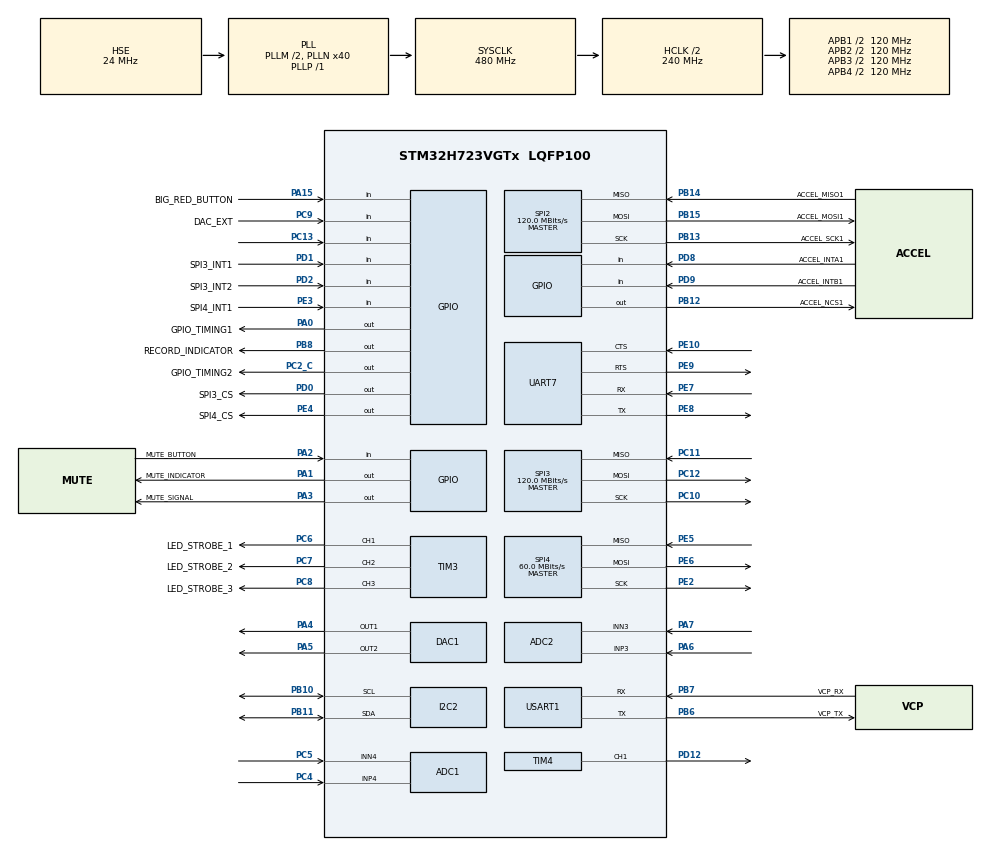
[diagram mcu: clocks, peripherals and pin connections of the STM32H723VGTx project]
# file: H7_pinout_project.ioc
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ADC1.Channel-0\#ChannelRegularConversion=ADC_CHANNEL_4
ADC1.ClockPrescaler=ADC_CLOCK_ASYNC_DIV2
ADC1.NbrOfConversionFlag=1
ADC1.OffsetNumber-0\#ChannelRegularConversion=ADC_OFFSET_NONE
ADC1.OffsetSignedSaturation-0\#ChannelRegularConversion=DISABLE
ADC1.Rank-0\#ChannelRegularConversion=1
ADC1.SamplingTime-0\#ChannelRegularConversion=ADC_SAMPLETIME_1CYCLE_5
ADC1.SingleDiff-0\#ChannelRegularConversion=ADC_DIFFERENTIAL_ENDED
ADC1.master=1
ADC2.Channel-1\#ChannelRegularConversion=ADC_CHANNEL_3
ADC2.ClockPrescaler=ADC_CLOCK_ASYNC_DIV2
ADC2.NbrOfConversionFlag=1
ADC2.OffsetNumber-1\#ChannelRegularConversion=ADC_OFFSET_NONE
ADC2.OffsetSignedSaturation-1\#ChannelRegularConversion=DISABLE
ADC2.Rank-1\#ChannelRegularConversion=1
ADC2.SamplingTime-1\#ChannelRegularConversion=ADC_SAMPLETIME_1CYCLE_5
ADC2.SingleDiff-1\#ChannelRegularConversion=ADC_DIFFERENTIAL_ENDED
CORTEX_M7.default_mode_Activation=1
DAC1.DAC_Channel-DAC_OUT1=DAC_CHANNEL_1
DAC1.DAC_Channel-DAC_OUT2=DAC_CHANNEL_2
DAC1.DAC_Trigger-DAC_OUT1=DAC_TRIGGER_T1_TRGO
Dma.DAC1_CH1.0.Direction=DMA_MEMORY_TO_PERIPH
Dma.DAC1_CH1.0.EventEnable=DISABLE
Dma.DAC1_CH1.0.FIFOMode=DMA_FIFOMODE_DISABLE
Dma.DAC1_CH1.0.Instance=DMA1_Stream0
Dma.DAC1_CH1.0.MemDataAlignment=DMA_MDATAALIGN_WORD
Dma.DAC1_CH1.0.MemInc=DMA_MINC_ENABLE
Dma.DAC1_CH1.0.Mode=DMA_CIRCULAR
Dma.DAC1_CH1.0.PeriphDataAlignment=DMA_PDATAALIGN_WORD
Dma.DAC1_CH1.0.PeriphInc=DMA_PINC_DISABLE
Dma.DAC1_CH1.0.Polarity=HAL_DMAMUX_REQ_GEN_RISING
Dma.DAC1_CH1.0.Priority=DMA_PRIORITY_LOW
Dma.DAC1_CH1.0.RequestNumber=1
Dma.DAC1_CH1.0.SignalID=NONE
Dma.DAC1_CH1.0.SyncEnable=DISABLE
Dma.DAC1_CH1.0.SyncPolarity=HAL_DMAMUX_SYNC_NO_EVENT
Dma.DAC1_CH1.0.SyncRequestNumber=1
Dma.DAC1_CH1.0.SyncSignalID=NONE
Dma.DAC1_CH2.2.Direction=DMA_MEMORY_TO_PERIPH
Dma.DAC1_CH2.2.EventEnable=DISABLE
Dma.DAC1_CH2.2.FIFOMode=DMA_FIFOMODE_DISABLE
Dma.DAC1_CH2.2.Instance=DMA1_Stream1
Dma.DAC1_CH2.2.MemDataAlignment=DMA_MDATAALIGN_WORD
Dma.DAC1_CH2.2.MemInc=DMA_MINC_ENABLE
Dma.DAC1_CH2.2.Mode=DMA_CIRCULAR
Dma.DAC1_CH2.2.PeriphDataAlignment=DMA_PDATAALIGN_WORD
Dma.DAC1_CH2.2.PeriphInc=DMA_PINC_DISABLE
Dma.DAC1_CH2.2.Polarity=HAL_DMAMUX_REQ_GEN_RISING
Dma.DAC1_CH2.2.Priority=DMA_PRIORITY_LOW
Dma.DAC1_CH2.2.RequestNumber=1
Dma.DAC1_CH2.2.SignalID=NONE
Dma.DAC1_CH2.2.SyncEnable=DISABLE
Dma.DAC1_CH2.2.SyncPolarity=HAL_DMAMUX_SYNC_NO_EVENT
Dma.DAC1_CH2.2.SyncRequestNumber=1
Dma.DAC1_CH2.2.SyncSignalID=NONE
Dma.Request0=DAC1_CH1
Dma.Request1=TIM4_CH1
Dma.Request2=DAC1_CH2
Dma.TIM4_CH1.1.Direction=DMA_MEMORY_TO_PERIPH
Dma.TIM4_CH1.1.EventEnable=DISABLE
Dma.TIM4_CH1.1.FIFOMode=DMA_FIFOMODE_DISABLE
Dma.TIM4_CH1.1.Instance=DMA1_Stream2
Dma.TIM4_CH1.1.MemDataAlignment=DMA_MDATAALIGN_HALFWORD
Dma.TIM4_CH1.1.MemInc=DMA_MINC_ENABLE
Dma.TIM4_CH1.1.Mode=DMA_NORMAL
Dma.TIM4_CH1.1.PeriphDataAlignment=DMA_PDATAALIGN_HALFWORD
Dma.TIM4_CH1.1.PeriphInc=DMA_PINC_DISABLE
Dma.TIM4_CH1.1.Polarity=HAL_DMAMUX_REQ_GEN_RISING
Dma.TIM4_CH1.1.Priority=DMA_PRIORITY_LOW
Dma.TIM4_CH1.1.RequestNumber=1
Dma.TIM4_CH1.1.SignalID=NONE
Dma.TIM4_CH1.1.SyncEnable=DISABLE
Dma.TIM4_CH1.1.SyncPolarity=HAL_DMAMUX_SYNC_NO_EVENT
Dma.TIM4_CH1.1.SyncRequestNumber=1
Dma.TIM4_CH1.1.SyncSignalID=NONE
I2C2.Timing=0x307075B1
Mcu.Family=STM32H7
Mcu.Name=STM32H723VGTx
Mcu.Package=LQFP100
NVIC.DMA1_Stream0_IRQn=true\:0\:0\:false\:false\:true\:false\:true\:true
NVIC.DMA1_Stream1_IRQn=true\:0\:0\:false\:false\:true\:false\:true\:true
NVIC.DMA1_Stream2_IRQn=true\:0\:0\:false\:false\:true\:false\:true\:true
NVIC.PriorityGroup=NVIC_PRIORITYGROUP_4
NVIC.TIM4_IRQn=true\:0\:0\:false\:false\:true\:true\:true\:true
PA0.GPIO_Label=GPIO_TIMING1
PA0.Signal=GPIO_Output
PA1.GPIO_Label=MUTE_INDICATOR
PA1.Signal=GPIO_Output
PA13(JTMS/SWDIO).Mode=Trace_Asynchronous_SW
PA13(JTMS/SWDIO).Signal=DEBUG_JTMS-SWDIO
PA14(JTCK/SWCLK).Mode=Trace_Asynchronous_SW
PA14(JTCK/SWCLK).Signal=DEBUG_JTCK-SWCLK
PA15(JTDI).GPIO_Label=BIG_RED_BUTTON
PA15(JTDI).Signal=GPIO_Input
PA2.GPIO_Label=MUTE_BUTTON
PA2.Signal=GPIO_Input
PA3.GPIO_Label=MUTE_SIGNAL
PA3.Signal=GPIO_Output
PA4.Signal=COMP_DAC11_group
PA5.Signal=COMP_DAC12_group
PA6.Signal=ADCx_INP3
PA7.Signal=ADCx_INN3
PB10.Mode=I2C
PB10.Signal=I2C2_SCL
PB11.Mode=I2C
PB11.Signal=I2C2_SDA
PB12.GPIO_Label=ACCEL_NCS1
PB12.Signal=GPIO_Output
PB13.GPIO_Label=ACCEL_SCK1
PB13.Mode=Full_Duplex_Master
PB13.Signal=SPI2_SCK
PB14.GPIO_Label=ACCEL_MISO1
PB14.Mode=Full_Duplex_Master
PB14.Signal=SPI2_MISO
PB15.GPIO_Label=ACCEL_MOSI1
PB15.Mode=Full_Duplex_Master
PB15.Signal=SPI2_MOSI
PB3(JTDO/TRACESWO).Mode=Trace_Asynchronous_SW
PB3(JTDO/TRACESWO).Signal=DEBUG_JTDO-SWO
PB6.GPIO_Label=VCP_TX
PB6.Mode=Asynchronous
PB6.Signal=USART1_TX
PB7.GPIO_Label=VCP_RX
PB7.Mode=Asynchronous
PB7.Signal=USART1_RX
PB8.GPIO_Label=RECORD_INDICATOR
PB8.Signal=GPIO_Output
PC10.Mode=Full_Duplex_Master
PC10.Signal=SPI3_SCK
PC11.Mode=Full_Duplex_Master
PC11.Signal=SPI3_MISO
PC12.Mode=Full_Duplex_Master
PC12.Signal=SPI3_MOSI
PC13.Signal=GPIO_Input
PC2_C.GPIO_Label=GPIO_TIMING2
PC2_C.Signal=GPIO_Output
PC4.Signal=ADCx_INP4
PC5.Signal=ADCx_INN4
PC6.GPIO_Label=LED_STROBE_1
PC6.Signal=S_TIM3_CH1
PC7.GPIO_Label=LED_STROBE_2
PC7.Signal=S_TIM3_CH2
PC8.GPIO_Label=LED_STROBE_3
PC8.Signal=S_TIM3_CH3
PC9.GPIO_Label=DAC_EXT
PC9.Signal=GPIO_Input
PD0.GPIO_Label=SPI3_CS
PD0.Signal=GPIO_Output
PD1.GPIO_Label=SPI3_INT1
PD1.Signal=GPIO_Input
PD12.Signal=S_TIM4_CH1
PD2.GPIO_Label=SPI3_INT2
PD2.Signal=GPIO_Input
PD8.GPIO_Label=ACCEL_INTA1
PD8.Signal=GPIO_Input
PD9.GPIO_Label=ACCEL_INTB1
PD9.Signal=GPIO_Input
PE10.Mode=CTS_RTS
PE10.Signal=UART7_CTS
PE2.Mode=Full_Duplex_Master
PE2.Signal=SPI4_SCK
PE3.GPIO_Label=SPI4_INT1
PE3.Signal=GPIO_Input
PE4.GPIO_Label=SPI4_CS
PE4.Signal=GPIO_Output
PE5.Mode=Full_Duplex_Master
PE5.Signal=SPI4_MISO
PE6.Mode=Full_Duplex_Master
PE6.Signal=SPI4_MOSI
PE7.Mode=Asynchronous
PE7.Signal=UART7_RX
PE8.Mode=Asynchronous
PE8.Signal=UART7_TX
PE9.Mode=CTS_RTS
PE9.Signal=UART7_RTS
PH0-OSC_IN.Mode=HSE-External-Oscillator
PH0-OSC_IN.Signal=RCC_OSC_IN
PH1-OSC_OUT.Mode=HSE-External-Oscillator
PH1-OSC_OUT.Signal=RCC_OSC_OUT
ProjectManager.HeapSize=0x200
ProjectManager.StackSize=0x400
ProjectManager.TargetToolchain=STM32CubeIDE
RCC.ADCFreq_Value=96000000
RCC.APB1Freq_Value=120000000
RCC.APB2Freq_Value=120000000
RCC.APB3Freq_Value=120000000
RCC.APB4Freq_Value=120000000
RCC.CortexFreq_Value=480000000
RCC.D1PPRE=RCC_APB3_DIV2
RCC.D2PPRE1=RCC_APB1_DIV2
RCC.D2PPRE2=RCC_APB2_DIV2
RCC.D3PPRE=RCC_APB4_DIV2
RCC.DIVM1=2
RCC.DIVM2=2
RCC.DIVN1=40
RCC.DIVN2=16
RCC.DIVP1=1
RCC.HCLKFreq_Value=240000000
RCC.HPRE=RCC_HCLK_DIV2
RCC.HSE_VALUE=24000000
RCC.PLL2FRACN=0
RCC.PLL3FRACN=0
RCC.PLLFRACN=0
RCC.PLLSourceVirtual=RCC_PLLSOURCE_HSE
RCC.SYSCLKFreq_VALUE=480000000
RCC.SYSCLKSource=RCC_SYSCLKSOURCE_PLLCLK
RCC.USBFreq_Value=240000000
SH.ADCx_INN3.0=ADC2_INN3,IN3-Differential
SH.ADCx_INN4.0=ADC1_INN4,IN4-Differential
SH.ADCx_INP3.0=ADC2_INP3,IN3-Differential
SH.ADCx_INP4.0=ADC1_INP4,IN4-Differential
SH.COMP_DAC11_group.0=DAC1_OUT1,DAC_OUT1
SH.COMP_DAC12_group.0=DAC1_OUT2,DAC_OUT2
SH.S_TIM3_CH1.0=TIM3_CH1,PWM Generation1 CH1
SH.S_TIM3_CH2.0=TIM3_CH2,PWM Generation2 CH2
SH.S_TIM3_CH3.0=TIM3_CH3,PWM Generation3 CH3
SH.S_TIM4_CH1.0=TIM4_CH1,PWM Generation1 CH1
SPI2.CalculateBaudRate=120.0 MBits/s
SPI2.Direction=SPI_DIRECTION_2LINES
SPI2.IOSwap=SPI_IO_SWAP_DISABLE
SPI2.Mode=SPI_MODE_MASTER
SPI2.VirtualType=VM_MASTER
SPI3.CalculateBaudRate=120.0 MBits/s
SPI3.Direction=SPI_DIRECTION_2LINES
SPI3.Mode=SPI_MODE_MASTER
SPI3.VirtualType=VM_MASTER
SPI4.CalculateBaudRate=60.0 MBits/s
SPI4.Direction=SPI_DIRECTION_2LINES
SPI4.Mode=SPI_MODE_MASTER
SPI4.VirtualType=VM_MASTER
TIM1.TIM_MasterOutputTrigger=TIM_TRGO_UPDATE
TIM2.TIM_MasterOutputTrigger=TIM_TRGO_UPDATE
TIM3.Channel-PWM\ Generation1\ CH1=TIM_CHANNEL_1
TIM3.Channel-PWM\ Generation2\ CH2=TIM_CHANNEL_2
TIM3.Channel-PWM\ Generation3\ CH3=TIM_CHANNEL_3
TIM4.Channel-PWM\ Generation1\ CH1=TIM_CHANNEL_1
TIM4.Period=100-1
TIM4.Prescaler=3-1
USART1.VirtualMode-Asynchronous=VM_ASYNC
VP_MEMORYMAP_VS_MEMORYMAP.Mode=CurAppReg
VP_TIM1_VS_ClockSourceINT.Mode=Internal
VP_TIM2_VS_ClockSourceINT.Mode=Internal
VP_TIM3_VS_ClockSourceINT.Mode=Internal
VP_TIM4_VS_ClockSourceINT.Mode=Internal
board=custom

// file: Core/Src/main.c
/* USER CODE BEGIN Header */
/**
  ******************************************************************************
  * @file           : main.c
  * @brief          : Main program body
  ******************************************************************************
  * @attention
  *
  * Copyright (c) 2024 STMicroelectronics.
  * All rights reserved.
  *
  * This software is licensed under terms that can be found in the LICENSE file
  * in the root directory of this software component.
  * If no LICENSE file comes with this software, it is provided AS-IS.
  *
  ******************************************************************************
  */
/* USER CODE END Header */
#include "main.h"

/* USER CODE BEGIN Includes */
#include "driver_RGB_LED.h"
/* USER CODE END Includes */

/* USER CODE BEGIN PD */

#define TIM_BASE_FREQ_HZ 240000000  /* all of our timers happen to be on the same clock frequency */

#define STROBE_TIMER_PRESCALER 10000
#define STROBE_TIMER_COUNTS_PER_SEC TIM_BASE_FREQ_HZ / STROBE_TIMER_PRESCALER
#define STROBE_BLINK_FREQ_HZ 62
#define STROBE_BLINK_DUTYCYCLE 0.05

#define RGB_TIMER_PRESCALER 3
#define RGB_TIMER_COUNTS_PER_SEC TIM_BASE_FREQ_HZ / RGB_TIMER_PRESCALER
#define RGB_TIMER_FREQ_HZ 800000
#define RGB_TIMER_COUNTS_PER_PERIOD RGB_TIMER_COUNTS_PER_SEC / RGB_TIMER_FREQ_HZ

#define DAC_TIMER_PRESCALER 1
#define DAC_TIMER_COUNTS_PER_SEC TIM_BASE_FREQ_HZ / DAC_TIMER_PRESCALER
#define DAC_FREQ_HZ 48000
#define SINE_FREQ_HZ 60

/* USER CODE END PD */

ADC_HandleTypeDef hadc1;
ADC_HandleTypeDef hadc2;

DAC_HandleTypeDef hdac1;
DMA_HandleTypeDef hdma_dac1_ch1;
DMA_HandleTypeDef hdma_dac1_ch2;

I2C_HandleTypeDef hi2c2;

SPI_HandleTypeDef hspi2;
SPI_HandleTypeDef hspi3;
SPI_HandleTypeDef hspi4;

TIM_HandleTypeDef htim1;
TIM_HandleTypeDef htim2;
TIM_HandleTypeDef htim3;
TIM_HandleTypeDef htim4;
DMA_HandleTypeDef hdma_tim4_ch1;

UART_HandleTypeDef huart7;
UART_HandleTypeDef huart1;

void SystemClock_Config(void);
void PeriphCommonClock_Config(void);
static void MPU_Config(void);
static void MX_GPIO_Init(void);
static void MX_DMA_Init(void);
static void MX_DAC1_Init(void);
static void MX_I2C2_Init(void);
static void MX_SPI2_Init(void);
static void MX_SPI3_Init(void);
static void MX_SPI4_Init(void);
static void MX_TIM4_Init(void);
static void MX_TIM3_Init(void);
static void MX_USART1_UART_Init(void);
static void MX_TIM1_Init(void);
static void MX_TIM2_Init(void);
static void MX_ADC1_Init(void);
static void MX_ADC2_Init(void);
static void MX_UART7_Init(void);

/* USER CODE BEGIN 0 */

void Generate_Sine(uint32_t* buf, uint32_t len, uint16_t amplitude)
{
	for (uint32_t i = 0; i < len; i++)
	{
		*buf++ = 2048 + amplitude * sin((float)i * 2.0f * PI / (float)len);  /* offset to mid voltage */
	}
}

void HAL_TIM_PWM_PulseFinishedCallback(TIM_HandleTypeDef *htim){
	if(htim == &htim4){
		RGB_Callback();
	}
}

/* USER CODE END 0 */

int main(void)
{

  /* MPU Configuration--------------------------------------------------------*/
  MPU_Config();

  /* MCU Configuration--------------------------------------------------------*/

  /* Reset of all peripherals, Initializes the Flash interface and the Systick. */
  HAL_Init();

  /* Configure the system clock */
  SystemClock_Config();

  /* Configure the peripherals common clocks */
  PeriphCommonClock_Config();

  /* Initialize all configured peripherals */
  MX_GPIO_Init();
  MX_DMA_Init();
  MX_DAC1_Init();
  MX_I2C2_Init();
  MX_SPI2_Init();
  MX_SPI3_Init();
  MX_SPI4_Init();
  MX_TIM4_Init();
  MX_TIM3_Init();
  MX_USART1_UART_Init();
  MX_TIM1_Init();
  MX_TIM2_Init();
  MX_ADC1_Init();
  MX_ADC2_Init();
  MX_UART7_Init();

  /* Infinite loop */
  /* USER CODE BEGIN WHILE */

  /* strobe timer setup */
  TIM3->PSC = STROBE_TIMER_PRESCALER - 1;
  TIM3->ARR = STROBE_TIMER_COUNTS_PER_SEC / STROBE_BLINK_FREQ_HZ - 1;
  TIM3->CCR1 = (float)TIM3->ARR * STROBE_BLINK_DUTYCYCLE;
  TIM3->CCR2 = (float)TIM3->ARR * STROBE_BLINK_DUTYCYCLE;
  TIM3->CCR3 = (float)TIM3->ARR * STROBE_BLINK_DUTYCYCLE;

  /* RGB LEDs timer setup */
  TIM4->PSC = RGB_TIMER_PRESCALER - 1;
  TIM4->ARR = RGB_TIMER_COUNTS_PER_PERIOD - 1;

  //RGB_Init(&htim4);

  /* DAC setup */
  uint32_t sine_wave[DAC_FREQ_HZ / SINE_FREQ_HZ];
  Generate_Sine(sine_wave, DAC_FREQ_HZ / SINE_FREQ_HZ, 330);	  /* populate sine wave */

  TIM1->PSC = DAC_TIMER_PRESCALER - 1;
  TIM1->ARR = DAC_TIMER_COUNTS_PER_SEC / DAC_FREQ_HZ - 1;

  /* start strobe timers */
  HAL_TIM_PWM_Start(&htim3, TIM_CHANNEL_1);
  HAL_TIM_PWM_Start(&htim3, TIM_CHANNEL_2);
  HAL_TIM_PWM_Start(&htim3, TIM_CHANNEL_3);

  /* start the speaker output */
  HAL_DAC_Start_DMA(&hdac1, DAC_CHANNEL_1, sine_wave, DAC_FREQ_HZ / SINE_FREQ_HZ, DAC_ALIGN_12B_R);
  HAL_DAC_Start_DMA(&hdac1, DAC_CHANNEL_2, sine_wave, DAC_FREQ_HZ / SINE_FREQ_HZ, DAC_ALIGN_12B_R);

  HAL_TIM_Base_Start(&htim1);

  HAL_Delay(1000);

  RGB_SetColor(0,106,0,0);
  RGB_SetColor(1,107,0,0);
  RGB_SetColor(2,108,0,0);

  RGB_SetColor(3,102,0,0);
  RGB_SetColor(4,101,0,0);
  RGB_SetColor(5,100,0,0);

  RGB_SetColor(6,103,0,0);
  RGB_SetColor(7,104,0,0);
  RGB_SetColor(8,105,0,0);

  RGB_Update();
  float t = 0;

  while (1){
	  /*
	  uint8_t A = 10;
	  float p_r = 0;
	  float p_g = 2 * PI / 3;
	  float p_b = -2 * PI / 3;
	  uint8_t r = (uint8_t) (A + A * sin(2*PI * t + p_r));
	  uint8_t g = (uint8_t) (A + A * sin(2*PI * t + p_g));
	  uint8_t b = (uint8_t) (A + A * sin(2*PI * t + p_b));
	  t+= 0.01;
	*/
	  uint8_t r = 25;
	  uint8_t g = 25;
	  uint8_t b = 25;
	  RGB_SetColor(0,r,g,b);
	  RGB_SetColor(1,r,g,b);
	  RGB_SetColor(2,r,g,b);
	  RGB_SetColor(3,r,g,b);
	  RGB_SetColor(4,r,g,b);
	  RGB_SetColor(5,r,g,b);
	  RGB_SetColor(6,r,g,b);
	  RGB_SetColor(7,r,g,b);
	  RGB_SetColor(8,r,g,b);

	  RGB_Update();

	  HAL_Delay(10);
	  /*
	  RGB_SetColor(0, 0, 0, 0);

	  for(int b = 0; b < 255; b++){
		  for(int i = 1; i<10; i++){
			  RGB_SetColor(i, b, 0, 0);
		  }
		  RGB_Update();
		  HAL_Delay(500);
	  }*/

    /* USER CODE END WHILE */

  }
}

void SystemClock_Config(void)
{
  RCC_OscInitTypeDef RCC_OscInitStruct = {0};
  RCC_ClkInitTypeDef RCC_ClkInitStruct = {0};

  /** Supply configuration update enable
  */
  HAL_PWREx_ConfigSupply(PWR_LDO_SUPPLY);

  /** Configure the main internal regulator output voltage
  */
  __HAL_PWR_VOLTAGESCALING_CONFIG(PWR_REGULATOR_VOLTAGE_SCALE0);

  while(!__HAL_PWR_GET_FLAG(PWR_FLAG_VOSRDY)) {}

  /** Initializes the RCC Oscillators according to the specified parameters
  * in the RCC_OscInitTypeDef structure.
  */
  RCC_OscInitStruct.OscillatorType = RCC_OSCILLATORTYPE_HSE;
  RCC_OscInitStruct.HSEState = RCC_HSE_ON;
  RCC_OscInitStruct.PLL.PLLState = RCC_PLL_ON;
  RCC_OscInitStruct.PLL.PLLSource = RCC_PLLSOURCE_HSE;
  RCC_OscInitStruct.PLL.PLLM = 2;
  RCC_OscInitStruct.PLL.PLLN = 40;
  RCC_OscInitStruct.PLL.PLLP = 1;
  RCC_OscInitStruct.PLL.PLLQ = 2;
  RCC_OscInitStruct.PLL.PLLR = 2;
  RCC_OscInitStruct.PLL.PLLRGE = RCC_PLL1VCIRANGE_3;
  RCC_OscInitStruct.PLL.PLLVCOSEL = RCC_PLL1VCOWIDE;
  RCC_OscInitStruct.PLL.PLLFRACN = 0;
  if (HAL_RCC_OscConfig(&RCC_OscInitStruct) != HAL_OK)
  {
    Error_Handler();
  }

  /** Initializes the CPU, AHB and APB buses clocks
  */
  RCC_ClkInitStruct.ClockType = RCC_CLOCKTYPE_HCLK|RCC_CLOCKTYPE_SYSCLK
                              |RCC_CLOCKTYPE_PCLK1|RCC_CLOCKTYPE_PCLK2
                              |RCC_CLOCKTYPE_D3PCLK1|RCC_CLOCKTYPE_D1PCLK1;
  RCC_ClkInitStruct.SYSCLKSource = RCC_SYSCLKSOURCE_PLLCLK;
  RCC_ClkInitStruct.SYSCLKDivider = RCC_SYSCLK_DIV1;
  RCC_ClkInitStruct.AHBCLKDivider = RCC_HCLK_DIV2;
  RCC_ClkInitStruct.APB3CLKDivider = RCC_APB3_DIV2;
  RCC_ClkInitStruct.APB1CLKDivider = RCC_APB1_DIV2;
  RCC_ClkInitStruct.APB2CLKDivider = RCC_APB2_DIV2;
  RCC_ClkInitStruct.APB4CLKDivider = RCC_APB4_DIV2;

  if (HAL_RCC_ClockConfig(&RCC_ClkInitStruct, FLASH_LATENCY_3) != HAL_OK)
  {
    Error_Handler();
  }
}

void PeriphCommonClock_Config(void)
{
  RCC_PeriphCLKInitTypeDef PeriphClkInitStruct = {0};

  /** Initializes the peripherals clock
  */
  PeriphClkInitStruct.PeriphClockSelection = RCC_PERIPHCLK_ADC;
  PeriphClkInitStruct.PLL2.PLL2M = 2;
  PeriphClkInitStruct.PLL2.PLL2N = 16;
  PeriphClkInitStruct.PLL2.PLL2P = 2;
  PeriphClkInitStruct.PLL2.PLL2Q = 2;
  PeriphClkInitStruct.PLL2.PLL2R = 2;
  PeriphClkInitStruct.PLL2.PLL2RGE = RCC_PLL2VCIRANGE_3;
  PeriphClkInitStruct.PLL2.PLL2VCOSEL = RCC_PLL2VCOWIDE;
  PeriphClkInitStruct.PLL2.PLL2FRACN = 0;
  PeriphClkInitStruct.AdcClockSelection = RCC_ADCCLKSOURCE_PLL2;
  if (HAL_RCCEx_PeriphCLKConfig(&PeriphClkInitStruct) != HAL_OK)
  {
    Error_Handler();
  }
}

static void MX_ADC1_Init(void)
{

  ADC_MultiModeTypeDef multimode = {0};
  ADC_ChannelConfTypeDef sConfig = {0};

  /** Common config
  */
  hadc1.Instance = ADC1;
  hadc1.Init.ClockPrescaler = ADC_CLOCK_ASYNC_DIV2;
  hadc1.Init.Resolution = ADC_RESOLUTION_16B;
  hadc1.Init.ScanConvMode = ADC_SCAN_DISABLE;
  hadc1.Init.EOCSelection = ADC_EOC_SINGLE_CONV;
  hadc1.Init.LowPowerAutoWait = DISABLE;
  hadc1.Init.ContinuousConvMode = DISABLE;
  hadc1.Init.NbrOfConversion = 1;
  hadc1.Init.DiscontinuousConvMode = DISABLE;
  hadc1.Init.ExternalTrigConv = ADC_SOFTWARE_START;
  hadc1.Init.ExternalTrigConvEdge = ADC_EXTERNALTRIGCONVEDGE_NONE;
  hadc1.Init.ConversionDataManagement = ADC_CONVERSIONDATA_DR;
  hadc1.Init.Overrun = ADC_OVR_DATA_PRESERVED;
  hadc1.Init.LeftBitShift = ADC_LEFTBITSHIFT_NONE;
  hadc1.Init.OversamplingMode = DISABLE;
  hadc1.Init.Oversampling.Ratio = 1;
  if (HAL_ADC_Init(&hadc1) != HAL_OK)
  {
    Error_Handler();
  }

  /** Configure the ADC multi-mode
  */
  multimode.Mode = ADC_MODE_INDEPENDENT;
  if (HAL_ADCEx_MultiModeConfigChannel(&hadc1, &multimode) != HAL_OK)
  {
    Error_Handler();
  }

  /** Configure Regular Channel
  */
  sConfig.Channel = ADC_CHANNEL_4;
  sConfig.Rank = ADC_REGULAR_RANK_1;
  sConfig.SamplingTime = ADC_SAMPLETIME_1CYCLE_5;
  sConfig.SingleDiff = ADC_DIFFERENTIAL_ENDED;
  sConfig.OffsetNumber = ADC_OFFSET_NONE;
  sConfig.Offset = 0;
  sConfig.OffsetSignedSaturation = DISABLE;
  if (HAL_ADC_ConfigChannel(&hadc1, &sConfig) != HAL_OK)
  {
    Error_Handler();
  }

}

static void MX_ADC2_Init(void)
{

  ADC_ChannelConfTypeDef sConfig = {0};

  /** Common config
  */
  hadc2.Instance = ADC2;
  hadc2.Init.ClockPrescaler = ADC_CLOCK_ASYNC_DIV2;
  hadc2.Init.Resolution = ADC_RESOLUTION_16B;
  hadc2.Init.ScanConvMode = ADC_SCAN_DISABLE;
  hadc2.Init.EOCSelection = ADC_EOC_SINGLE_CONV;
  hadc2.Init.LowPowerAutoWait = DISABLE;
  hadc2.Init.ContinuousConvMode = DISABLE;
  hadc2.Init.NbrOfConversion = 1;
  hadc2.Init.DiscontinuousConvMode = DISABLE;
  hadc2.Init.ExternalTrigConv = ADC_SOFTWARE_START;
  hadc2.Init.ExternalTrigConvEdge = ADC_EXTERNALTRIGCONVEDGE_NONE;
  hadc2.Init.ConversionDataManagement = ADC_CONVERSIONDATA_DR;
  hadc2.Init.Overrun = ADC_OVR_DATA_PRESERVED;
  hadc2.Init.LeftBitShift = ADC_LEFTBITSHIFT_NONE;
  hadc2.Init.OversamplingMode = DISABLE;
  hadc2.Init.Oversampling.Ratio = 1;
  if (HAL_ADC_Init(&hadc2) != HAL_OK)
  {
    Error_Handler();
  }

  /** Configure Regular Channel
  */
  sConfig.Channel = ADC_CHANNEL_3;
  sConfig.Rank = ADC_REGULAR_RANK_1;
  sConfig.SamplingTime = ADC_SAMPLETIME_1CYCLE_5;
  sConfig.SingleDiff = ADC_DIFFERENTIAL_ENDED;
  sConfig.OffsetNumber = ADC_OFFSET_NONE;
  sConfig.Offset = 0;
  sConfig.OffsetSignedSaturation = DISABLE;
  if (HAL_ADC_ConfigChannel(&hadc2, &sConfig) != HAL_OK)
  {
    Error_Handler();
  }

}

static void MX_DAC1_Init(void)
{

  DAC_ChannelConfTypeDef sConfig = {0};

  /** DAC Initialization
  */
  hdac1.Instance = DAC1;
  if (HAL_DAC_Init(&hdac1) != HAL_OK)
  {
    Error_Handler();
  }

  /** DAC channel OUT1 config
  */
  sConfig.DAC_SampleAndHold = DAC_SAMPLEANDHOLD_DISABLE;
  sConfig.DAC_Trigger = DAC_TRIGGER_T1_TRGO;
  sConfig.DAC_OutputBuffer = DAC_OUTPUTBUFFER_ENABLE;
  sConfig.DAC_ConnectOnChipPeripheral = DAC_CHIPCONNECT_DISABLE;
  sConfig.DAC_UserTrimming = DAC_TRIMMING_FACTORY;
  if (HAL_DAC_ConfigChannel(&hdac1, &sConfig, DAC_CHANNEL_1) != HAL_OK)
  {
    Error_Handler();
  }

  /** DAC channel OUT2 config
  */
  sConfig.DAC_Trigger = DAC_TRIGGER_NONE;
  if (HAL_DAC_ConfigChannel(&hdac1, &sConfig, DAC_CHANNEL_2) != HAL_OK)
  {
    Error_Handler();
  }

}

static void MX_I2C2_Init(void)
{

  hi2c2.Instance = I2C2;
  hi2c2.Init.Timing = 0x307075B1;
  hi2c2.Init.OwnAddress1 = 0;
  hi2c2.Init.AddressingMode = I2C_ADDRESSINGMODE_7BIT;
  hi2c2.Init.DualAddressMode = I2C_DUALADDRESS_DISABLE;
  hi2c2.Init.OwnAddress2 = 0;
  hi2c2.Init.OwnAddress2Masks = I2C_OA2_NOMASK;
  hi2c2.Init.GeneralCallMode = I2C_GENERALCALL_DISABLE;
  hi2c2.Init.NoStretchMode = I2C_NOSTRETCH_DISABLE;
  if (HAL_I2C_Init(&hi2c2) != HAL_OK)
  {
    Error_Handler();
  }

  /** Configure Analogue filter
  */
  if (HAL_I2CEx_ConfigAnalogFilter(&hi2c2, I2C_ANALOGFILTER_ENABLE) != HAL_OK)
  {
    Error_Handler();
  }

  /** Configure Digital filter
  */
  if (HAL_I2CEx_ConfigDigitalFilter(&hi2c2, 0) != HAL_OK)
  {
    Error_Handler();
  }

}

static void MX_SPI2_Init(void)
{

  /* SPI2 parameter configuration*/
  hspi2.Instance = SPI2;
  hspi2.Init.Mode = SPI_MODE_MASTER;
  hspi2.Init.Direction = SPI_DIRECTION_2LINES;
  hspi2.Init.DataSize = SPI_DATASIZE_4BIT;
  hspi2.Init.CLKPolarity = SPI_POLARITY_LOW;
  hspi2.Init.CLKPhase = SPI_PHASE_1EDGE;
  hspi2.Init.NSS = SPI_NSS_SOFT;
  hspi2.Init.BaudRatePrescaler = SPI_BAUDRATEPRESCALER_2;
  hspi2.Init.FirstBit = SPI_FIRSTBIT_MSB;
  hspi2.Init.TIMode = SPI_TIMODE_DISABLE;
  hspi2.Init.CRCCalculation = SPI_CRCCALCULATION_DISABLE;
  hspi2.Init.CRCPolynomial = 0x0;
  hspi2.Init.NSSPMode = SPI_NSS_PULSE_ENABLE;
  hspi2.Init.NSSPolarity = SPI_NSS_POLARITY_LOW;
  hspi2.Init.FifoThreshold = SPI_FIFO_THRESHOLD_01DATA;
  hspi2.Init.TxCRCInitializationPattern = SPI_CRC_INITIALIZATION_ALL_ZERO_PATTERN;
  hspi2.Init.RxCRCInitializationPattern = SPI_CRC_INITIALIZATION_ALL_ZERO_PATTERN;
  hspi2.Init.MasterSSIdleness = SPI_MASTER_SS_IDLENESS_00CYCLE;
  hspi2.Init.MasterInterDataIdleness = SPI_MASTER_INTERDATA_IDLENESS_00CYCLE;
  hspi2.Init.MasterReceiverAutoSusp = SPI_MASTER_RX_AUTOSUSP_DISABLE;
  hspi2.Init.MasterKeepIOState = SPI_MASTER_KEEP_IO_STATE_DISABLE;
  hspi2.Init.IOSwap = SPI_IO_SWAP_DISABLE;
  if (HAL_SPI_Init(&hspi2) != HAL_OK)
  {
    Error_Handler();
  }

}

static void MX_SPI3_Init(void)
{

  /* SPI3 parameter configuration*/
  hspi3.Instance = SPI3;
  hspi3.Init.Mode = SPI_MODE_MASTER;
  hspi3.Init.Direction = SPI_DIRECTION_2LINES;
  hspi3.Init.DataSize = SPI_DATASIZE_4BIT;
  hspi3.Init.CLKPolarity = SPI_POLARITY_LOW;
  hspi3.Init.CLKPhase = SPI_PHASE_1EDGE;
  hspi3.Init.NSS = SPI_NSS_SOFT;
  hspi3.Init.BaudRatePrescaler = SPI_BAUDRATEPRESCALER_2;
  hspi3.Init.FirstBit = SPI_FIRSTBIT_MSB;
  hspi3.Init.TIMode = SPI_TIMODE_DISABLE;
  hspi3.Init.CRCCalculation = SPI_CRCCALCULATION_DISABLE;
  hspi3.Init.CRCPolynomial = 0x0;
  hspi3.Init.NSSPMode = SPI_NSS_PULSE_ENABLE;
  hspi3.Init.NSSPolarity = SPI_NSS_POLARITY_LOW;
  hspi3.Init.FifoThreshold = SPI_FIFO_THRESHOLD_01DATA;
  hspi3.Init.TxCRCInitializationPattern = SPI_CRC_INITIALIZATION_ALL_ZERO_PATTERN;
  hspi3.Init.RxCRCInitializationPattern = SPI_CRC_INITIALIZATION_ALL_ZERO_PATTERN;
  hspi3.Init.MasterSSIdleness = SPI_MASTER_SS_IDLENESS_00CYCLE;
  hspi3.Init.MasterInterDataIdleness = SPI_MASTER_INTERDATA_IDLENESS_00CYCLE;
  hspi3.Init.MasterReceiverAutoSusp = SPI_MASTER_RX_AUTOSUSP_DISABLE;
  hspi3.Init.MasterKeepIOState = SPI_MASTER_KEEP_IO_STATE_DISABLE;
  hspi3.Init.IOSwap = SPI_IO_SWAP_DISABLE;
  if (HAL_SPI_Init(&hspi3) != HAL_OK)
  {
    Error_Handler();
  }

}

static void MX_SPI4_Init(void)
{

  /* SPI4 parameter configuration*/
  hspi4.Instance = SPI4;
  hspi4.Init.Mode = SPI_MODE_MASTER;
  hspi4.Init.Direction = SPI_DIRECTION_2LINES;
  hspi4.Init.DataSize = SPI_DATASIZE_4BIT;
  hspi4.Init.CLKPolarity = SPI_POLARITY_LOW;
  hspi4.Init.CLKPhase = SPI_PHASE_1EDGE;
  hspi4.Init.NSS = SPI_NSS_SOFT;
  hspi4.Init.BaudRatePrescaler = SPI_BAUDRATEPRESCALER_2;
  hspi4.Init.FirstBit = SPI_FIRSTBIT_MSB;
  hspi4.Init.TIMode = SPI_TIMODE_DISABLE;
  hspi4.Init.CRCCalculation = SPI_CRCCALCULATION_DISABLE;
  hspi4.Init.CRCPolynomial = 0x0;
  hspi4.Init.NSSPMode = SPI_NSS_PULSE_ENABLE;
  hspi4.Init.NSSPolarity = SPI_NSS_POLARITY_LOW;
  hspi4.Init.FifoThreshold = SPI_FIFO_THRESHOLD_01DATA;
  hspi4.Init.TxCRCInitializationPattern = SPI_CRC_INITIALIZATION_ALL_ZERO_PATTERN;
  hspi4.Init.RxCRCInitializationPattern = SPI_CRC_INITIALIZATION_ALL_ZERO_PATTERN;
  hspi4.Init.MasterSSIdleness = SPI_MASTER_SS_IDLENESS_00CYCLE;
  hspi4.Init.MasterInterDataIdleness = SPI_MASTER_INTERDATA_IDLENESS_00CYCLE;
  hspi4.Init.MasterReceiverAutoSusp = SPI_MASTER_RX_AUTOSUSP_DISABLE;
  hspi4.Init.MasterKeepIOState = SPI_MASTER_KEEP_IO_STATE_DISABLE;
  hspi4.Init.IOSwap = SPI_IO_SWAP_DISABLE;
  if (HAL_SPI_Init(&hspi4) != HAL_OK)
  {
    Error_Handler();
  }

}

static void MX_TIM1_Init(void)
{

  TIM_ClockConfigTypeDef sClockSourceConfig = {0};
  TIM_MasterConfigTypeDef sMasterConfig = {0};

  htim1.Instance = TIM1;
  htim1.Init.Prescaler = 0;
  htim1.Init.CounterMode = TIM_COUNTERMODE_UP;
  htim1.Init.Period = 65535;
  htim1.Init.ClockDivision = TIM_CLOCKDIVISION_DIV1;
  htim1.Init.RepetitionCounter = 0;
  htim1.Init.AutoReloadPreload = TIM_AUTORELOAD_PRELOAD_DISABLE;
  if (HAL_TIM_Base_Init(&htim1) != HAL_OK)
  {
    Error_Handler();
  }
  sClockSourceConfig.ClockSource = TIM_CLOCKSOURCE_INTERNAL;
  if (HAL_TIM_ConfigClockSource(&htim1, &sClockSourceConfig) != HAL_OK)
  {
    Error_Handler();
  }
  sMasterConfig.MasterOutputTrigger = TIM_TRGO_UPDATE;
  sMasterConfig.MasterOutputTrigger2 = TIM_TRGO2_RESET;
  sMasterConfig.MasterSlaveMode = TIM_MASTERSLAVEMODE_DISABLE;
  if (HAL_TIMEx_MasterConfigSynchronization(&htim1, &sMasterConfig) != HAL_OK)
  {
    Error_Handler();
  }

}

static void MX_TIM2_Init(void)
{

  TIM_ClockConfigTypeDef sClockSourceConfig = {0};
  TIM_MasterConfigTypeDef sMasterConfig = {0};

  htim2.Instance = TIM2;
  htim2.Init.Prescaler = 0;
  htim2.Init.CounterMode = TIM_COUNTERMODE_UP;
  htim2.Init.Period = 4294967295;
  htim2.Init.ClockDivision = TIM_CLOCKDIVISION_DIV1;
  htim2.Init.AutoReloadPreload = TIM_AUTORELOAD_PRELOAD_DISABLE;
  if (HAL_TIM_Base_Init(&htim2) != HAL_OK)
  {
    Error_Handler();
  }
  sClockSourceConfig.ClockSource = TIM_CLOCKSOURCE_INTERNAL;
  if (HAL_TIM_ConfigClockSource(&htim2, &sClockSourceConfig) != HAL_OK)
  {
    Error_Handler();
  }
  sMasterConfig.MasterOutputTrigger = TIM_TRGO_UPDATE;
  sMasterConfig.MasterSlaveMode = TIM_MASTERSLAVEMODE_DISABLE;
  if (HAL_TIMEx_MasterConfigSynchronization(&htim2, &sMasterConfig) != HAL_OK)
  {
    Error_Handler();
  }

}

static void MX_TIM3_Init(void)
{

  TIM_ClockConfigTypeDef sClockSourceConfig = {0};
  TIM_MasterConfigTypeDef sMasterConfig = {0};
  TIM_OC_InitTypeDef sConfigOC = {0};

  htim3.Instance = TIM3;
  htim3.Init.Prescaler = 0;
  htim3.Init.CounterMode = TIM_COUNTERMODE_UP;
  htim3.Init.Period = 65535;
  htim3.Init.ClockDivision = TIM_CLOCKDIVISION_DIV1;
  htim3.Init.AutoReloadPreload = TIM_AUTORELOAD_PRELOAD_DISABLE;
  if (HAL_TIM_Base_Init(&htim3) != HAL_OK)
  {
    Error_Handler();
  }
  sClockSourceConfig.ClockSource = TIM_CLOCKSOURCE_INTERNAL;
  if (HAL_TIM_ConfigClockSource(&htim3, &sClockSourceConfig) != HAL_OK)
  {
    Error_Handler();
  }
  if (HAL_TIM_PWM_Init(&htim3) != HAL_OK)
  {
    Error_Handler();
  }
  sMasterConfig.MasterOutputTrigger = TIM_TRGO_RESET;
  sMasterConfig.MasterSlaveMode = TIM_MASTERSLAVEMODE_DISABLE;
  if (HAL_TIMEx_MasterConfigSynchronization(&htim3, &sMasterConfig) != HAL_OK)
  {
    Error_Handler();
  }
  sConfigOC.OCMode = TIM_OCMODE_PWM1;
  sConfigOC.Pulse = 0;
  sConfigOC.OCPolarity = TIM_OCPOLARITY_HIGH;
  sConfigOC.OCFastMode = TIM_OCFAST_DISABLE;
  if (HAL_TIM_PWM_ConfigChannel(&htim3, &sConfigOC, TIM_CHANNEL_1) != HAL_OK)
  {
    Error_Handler();
  }
  if (HAL_TIM_PWM_ConfigChannel(&htim3, &sConfigOC, TIM_CHANNEL_2) != HAL_OK)
  {
    Error_Handler();
  }
  if (HAL_TIM_PWM_ConfigChannel(&htim3, &sConfigOC, TIM_CHANNEL_3) != HAL_OK)
  {
    Error_Handler();
  }
  HAL_TIM_MspPostInit(&htim3);

}

static void MX_TIM4_Init(void)
{

  TIM_ClockConfigTypeDef sClockSourceConfig = {0};
  TIM_MasterConfigTypeDef sMasterConfig = {0};
  TIM_OC_InitTypeDef sConfigOC = {0};

  htim4.Instance = TIM4;
  htim4.Init.Prescaler = 3-1;
  htim4.Init.CounterMode = TIM_COUNTERMODE_UP;
  htim4.Init.Period = 100-1;
  htim4.Init.ClockDivision = TIM_CLOCKDIVISION_DIV1;
  htim4.Init.AutoReloadPreload = TIM_AUTORELOAD_PRELOAD_DISABLE;
  if (HAL_TIM_Base_Init(&htim4) != HAL_OK)
  {
    Error_Handler();
  }
  sClockSourceConfig.ClockSource = TIM_CLOCKSOURCE_INTERNAL;
  if (HAL_TIM_ConfigClockSource(&htim4, &sClockSourceConfig) != HAL_OK)
  {
    Error_Handler();
  }
  if (HAL_TIM_PWM_Init(&htim4) != HAL_OK)
  {
    Error_Handler();
  }
  sMasterConfig.MasterOutputTrigger = TIM_TRGO_RESET;
  sMasterConfig.MasterSlaveMode = TIM_MASTERSLAVEMODE_DISABLE;
  if (HAL_TIMEx_MasterConfigSynchronization(&htim4, &sMasterConfig) != HAL_OK)
  {
    Error_Handler();
  }
  sConfigOC.OCMode = TIM_OCMODE_PWM1;
  sConfigOC.Pulse = 0;
  sConfigOC.OCPolarity = TIM_OCPOLARITY_HIGH;
  sConfigOC.OCFastMode = TIM_OCFAST_DISABLE;
  if (HAL_TIM_PWM_ConfigChannel(&htim4, &sConfigOC, TIM_CHANNEL_1) != HAL_OK)
  {
    Error_Handler();
  }
  HAL_TIM_MspPostInit(&htim4);

}

static void MX_UART7_Init(void)
{

  huart7.Instance = UART7;
  huart7.Init.BaudRate = 115200;
  huart7.Init.WordLength = UART_WORDLENGTH_8B;
  huart7.Init.StopBits = UART_STOPBITS_1;
  huart7.Init.Parity = UART_PARITY_NONE;
  huart7.Init.Mode = UART_MODE_TX_RX;
  huart7.Init.HwFlowCtl = UART_HWCONTROL_RTS_CTS;
  huart7.Init.OverSampling = UART_OVERSAMPLING_16;
  huart7.Init.OneBitSampling = UART_ONE_BIT_SAMPLE_DISABLE;
  huart7.Init.ClockPrescaler = UART_PRESCALER_DIV1;
  huart7.AdvancedInit.AdvFeatureInit = UART_ADVFEATURE_NO_INIT;
  if (HAL_UART_Init(&huart7) != HAL_OK)
  {
    Error_Handler();
  }
  if (HAL_UARTEx_SetTxFifoThreshold(&huart7, UART_TXFIFO_THRESHOLD_1_8) != HAL_OK)
  {
    Error_Handler();
  }
  if (HAL_UARTEx_SetRxFifoThreshold(&huart7, UART_RXFIFO_THRESHOLD_1_8) != HAL_OK)
  {
    Error_Handler();
  }
  if (HAL_UARTEx_DisableFifoMode(&huart7) != HAL_OK)
  {
    Error_Handler();
  }

}

static void MX_USART1_UART_Init(void)
{

  huart1.Instance = USART1;
  huart1.Init.BaudRate = 115200;
  huart1.Init.WordLength = UART_WORDLENGTH_8B;
  huart1.Init.StopBits = UART_STOPBITS_1;
  huart1.Init.Parity = UART_PARITY_NONE;
  huart1.Init.Mode = UART_MODE_TX_RX;
  huart1.Init.HwFlowCtl = UART_HWCONTROL_NONE;
  huart1.Init.OverSampling = UART_OVERSAMPLING_16;
  huart1.Init.OneBitSampling = UART_ONE_BIT_SAMPLE_DISABLE;
  huart1.Init.ClockPrescaler = UART_PRESCALER_DIV1;
  huart1.AdvancedInit.AdvFeatureInit = UART_ADVFEATURE_NO_INIT;
  if (HAL_UART_Init(&huart1) != HAL_OK)
  {
    Error_Handler();
  }
  if (HAL_UARTEx_SetTxFifoThreshold(&huart1, UART_TXFIFO_THRESHOLD_1_8) != HAL_OK)
  {
    Error_Handler();
  }
  if (HAL_UARTEx_SetRxFifoThreshold(&huart1, UART_RXFIFO_THRESHOLD_1_8) != HAL_OK)
  {
    Error_Handler();
  }
  if (HAL_UARTEx_DisableFifoMode(&huart1) != HAL_OK)
  {
    Error_Handler();
  }

}

static void MX_DMA_Init(void)
{

  /* DMA controller clock enable */
  __HAL_RCC_DMA1_CLK_ENABLE();

  /* DMA interrupt init */
  /* DMA1_Stream0_IRQn interrupt configuration */
  HAL_NVIC_SetPriority(DMA1_Stream0_IRQn, 0, 0);
  HAL_NVIC_EnableIRQ(DMA1_Stream0_IRQn);
  /* DMA1_Stream1_IRQn interrupt configuration */
  HAL_NVIC_SetPriority(DMA1_Stream1_IRQn, 0, 0);
  HAL_NVIC_EnableIRQ(DMA1_Stream1_IRQn);
  /* DMA1_Stream2_IRQn interrupt configuration */
  HAL_NVIC_SetPriority(DMA1_Stream2_IRQn, 0, 0);
  HAL_NVIC_EnableIRQ(DMA1_Stream2_IRQn);

}

static void MX_GPIO_Init(void)
{
  GPIO_InitTypeDef GPIO_InitStruct = {0};

  /* GPIO Ports Clock Enable */
  __HAL_RCC_GPIOE_CLK_ENABLE();
  __HAL_RCC_GPIOC_CLK_ENABLE();
  __HAL_RCC_GPIOH_CLK_ENABLE();
  __HAL_RCC_GPIOA_CLK_ENABLE();
  __HAL_RCC_GPIOB_CLK_ENABLE();
  __HAL_RCC_GPIOD_CLK_ENABLE();

  /*Configure GPIO pin Output Level */
  HAL_GPIO_WritePin(SPI4_CS_GPIO_Port, SPI4_CS_Pin, GPIO_PIN_RESET);

  /*Configure GPIO pin Output Level */
  HAL_GPIO_WritePin(GPIO_TIMING2_GPIO_Port, GPIO_TIMING2_Pin, GPIO_PIN_RESET);

  /*Configure GPIO pin Output Level */
  HAL_GPIO_WritePin(GPIOA, GPIO_TIMING1_Pin|MUTE_INDICATOR_Pin|MUTE_SIGNAL_Pin, GPIO_PIN_RESET);

  /*Configure GPIO pin Output Level */
  HAL_GPIO_WritePin(GPIOB, ACCEL_NCS1_Pin|RECORD_INDICATOR_Pin, GPIO_PIN_RESET);

  /*Configure GPIO pin Output Level */
  HAL_GPIO_WritePin(SPI3_CS_GPIO_Port, SPI3_CS_Pin, GPIO_PIN_RESET);

  /*Configure GPIO pin : SPI4_INT1_Pin */
  GPIO_InitStruct.Pin = SPI4_INT1_Pin;
  GPIO_InitStruct.Mode = GPIO_MODE_INPUT;
  GPIO_InitStruct.Pull = GPIO_NOPULL;
  HAL_GPIO_Init(SPI4_INT1_GPIO_Port, &GPIO_InitStruct);

  /*Configure GPIO pin : SPI4_CS_Pin */
  GPIO_InitStruct.Pin = SPI4_CS_Pin;
  GPIO_InitStruct.Mode = GPIO_MODE_OUTPUT_PP;
  GPIO_InitStruct.Pull = GPIO_NOPULL;
  GPIO_InitStruct.Speed = GPIO_SPEED_FREQ_LOW;
  HAL_GPIO_Init(SPI4_CS_GPIO_Port, &GPIO_InitStruct);

  /*Configure GPIO pins : PC13 DAC_EXT_Pin */
  GPIO_InitStruct.Pin = GPIO_PIN_13|DAC_EXT_Pin;
  GPIO_InitStruct.Mode = GPIO_MODE_INPUT;
  GPIO_InitStruct.Pull = GPIO_NOPULL;
  HAL_GPIO_Init(GPIOC, &GPIO_InitStruct);

  /*Configure GPIO pin : GPIO_TIMING2_Pin */
  GPIO_InitStruct.Pin = GPIO_TIMING2_Pin;
  GPIO_InitStruct.Mode = GPIO_MODE_OUTPUT_PP;
  GPIO_InitStruct.Pull = GPIO_NOPULL;
  GPIO_InitStruct.Speed = GPIO_SPEED_FREQ_LOW;
  HAL_GPIO_Init(GPIO_TIMING2_GPIO_Port, &GPIO_InitStruct);

  /*Configure GPIO pins : GPIO_TIMING1_Pin MUTE_INDICATOR_Pin MUTE_SIGNAL_Pin */
  GPIO_InitStruct.Pin = GPIO_TIMING1_Pin|MUTE_INDICATOR_Pin|MUTE_SIGNAL_Pin;
  GPIO_InitStruct.Mode = GPIO_MODE_OUTPUT_PP;
  GPIO_InitStruct.Pull = GPIO_NOPULL;
  GPIO_InitStruct.Speed = GPIO_SPEED_FREQ_LOW;
  HAL_GPIO_Init(GPIOA, &GPIO_InitStruct);

  /*Configure GPIO pins : MUTE_BUTTON_Pin BIG_RED_BUTTON_Pin */
  GPIO_InitStruct.Pin = MUTE_BUTTON_Pin|BIG_RED_BUTTON_Pin;
  GPIO_InitStruct.Mode = GPIO_MODE_INPUT;
  GPIO_InitStruct.Pull = GPIO_NOPULL;
  HAL_GPIO_Init(GPIOA, &GPIO_InitStruct);

  /*Configure GPIO pins : ACCEL_NCS1_Pin RECORD_INDICATOR_Pin */
  GPIO_InitStruct.Pin = ACCEL_NCS1_Pin|RECORD_INDICATOR_Pin;
  GPIO_InitStruct.Mode = GPIO_MODE_OUTPUT_PP;
  GPIO_InitStruct.Pull = GPIO_NOPULL;
  GPIO_InitStruct.Speed = GPIO_SPEED_FREQ_LOW;
  HAL_GPIO_Init(GPIOB, &GPIO_InitStruct);

  /*Configure GPIO pins : ACCEL_INTA1_Pin ACCEL_INTB1_Pin SPI3_INT1_Pin SPI3_INT2_Pin */
  GPIO_InitStruct.Pin = ACCEL_INTA1_Pin|ACCEL_INTB1_Pin|SPI3_INT1_Pin|SPI3_INT2_Pin;
  GPIO_InitStruct.Mode = GPIO_MODE_INPUT;
  GPIO_InitStruct.Pull = GPIO_NOPULL;
  HAL_GPIO_Init(GPIOD, &GPIO_InitStruct);

  /*Configure GPIO pin : SPI3_CS_Pin */
  GPIO_InitStruct.Pin = SPI3_CS_Pin;
  GPIO_InitStruct.Mode = GPIO_MODE_OUTPUT_PP;
  GPIO_InitStruct.Pull = GPIO_NOPULL;
  GPIO_InitStruct.Speed = GPIO_SPEED_FREQ_LOW;
  HAL_GPIO_Init(SPI3_CS_GPIO_Port, &GPIO_InitStruct);

}

 /* MPU Configuration */

void MPU_Config(void)
{
  MPU_Region_InitTypeDef MPU_InitStruct = {0};

  /* Disables the MPU */
  HAL_MPU_Disable();

  /** Initializes and configures the Region and the memory to be protected
  */
  MPU_InitStruct.Enable = MPU_REGION_ENABLE;
  MPU_InitStruct.Number = MPU_REGION_NUMBER0;
  MPU_InitStruct.BaseAddress = 0x0;
  MPU_InitStruct.Size = MPU_REGION_SIZE_4GB;
  MPU_InitStruct.SubRegionDisable = 0x87;
  MPU_InitStruct.TypeExtField = MPU_TEX_LEVEL0;
  MPU_InitStruct.AccessPermission = MPU_REGION_NO_ACCESS;
  MPU_InitStruct.DisableExec = MPU_INSTRUCTION_ACCESS_DISABLE;
  MPU_InitStruct.IsShareable = MPU_ACCESS_SHAREABLE;
  MPU_InitStruct.IsCacheable = MPU_ACCESS_NOT_CACHEABLE;
  MPU_InitStruct.IsBufferable = MPU_ACCESS_NOT_BUFFERABLE;

  HAL_MPU_ConfigRegion(&MPU_InitStruct);
  /* Enables the MPU */
  HAL_MPU_Enable(MPU_PRIVILEGED_DEFAULT);

}

void Error_Handler(void)
{
  __disable_irq();
  while (1)
  {
  }
}
